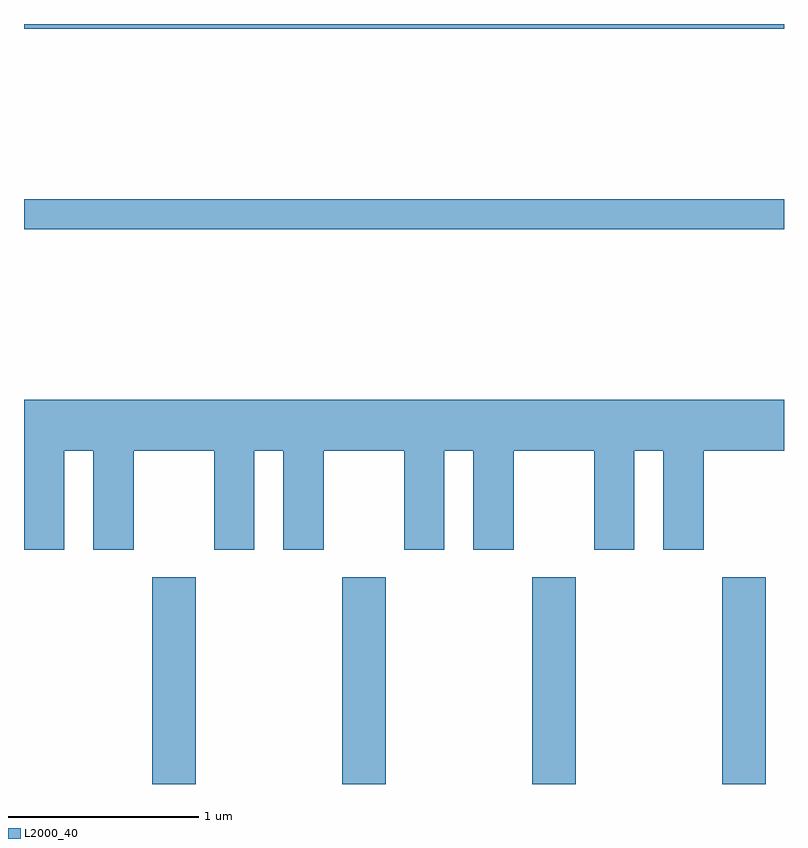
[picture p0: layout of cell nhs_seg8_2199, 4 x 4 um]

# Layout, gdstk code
import gdstk
lib = gdstk.Library(unit=1e-6, precision=1e-09)
def R(c, l, rs):  # rectangles x0, y0, x1, y1
    for r in rs: c.add(gdstk.rectangle(r[:2], r[2:], *l))
def A(c, l, x, y, w, h, nx, ny, dx, dy):  # array of equal rectangles
    R(c, l, [(x+i*dx, y+j*dy, x+i*dx+w, y+j*dy+h) for i in range(nx) for j in range(ny)])
def P(c, l, *ps):  # polygons
    for p in ps: c.add(gdstk.Polygon(p, *l))
L2000_40 = (2000, 40)

nhs_seg8_2199 = lib.new_cell('nhs_seg8_2199')
A(nhs_seg8_2199, L2000_40, 250.286, 1932.342, 0.228, 1.087, 4, 1, 1, 0)
R(nhs_seg8_2199, L2000_40, [(249.611,1935.261,253.611,1935.419), (249.611,1936.316,253.611,1936.342)])
P(nhs_seg8_2199, L2000_40, [(249.824,1934.096),(249.976,1934.096),(249.976,1933.576),(250.189,1933.576),(250.189,1934.096),(250.611,1934.096),(250.611,1933.576),(250.824,1933.576),(250.824,1934.096),(250.976,1934.096),(250.976,1933.576),(251.189,1933.576),(251.189,1934.096),(251.611,1934.096),(251.611,1933.576),(251.824,1933.576),(251.824,1934.096),(251.976,1934.096),(251.976,1933.576),(252.189,1933.576),(252.189,1934.096),(252.611,1934.096),(252.611,1933.576),(252.824,1933.576),(252.824,1934.096),(252.976,1934.096),(252.976,1933.576),(253.189,1933.576),(253.189,1934.096),(253.611,1934.096),(253.611,1934.364),(249.611,1934.364),(249.611,1933.576),(249.824,1933.576)])

lib.write_gds('nhs_seg8_2199.gds')
